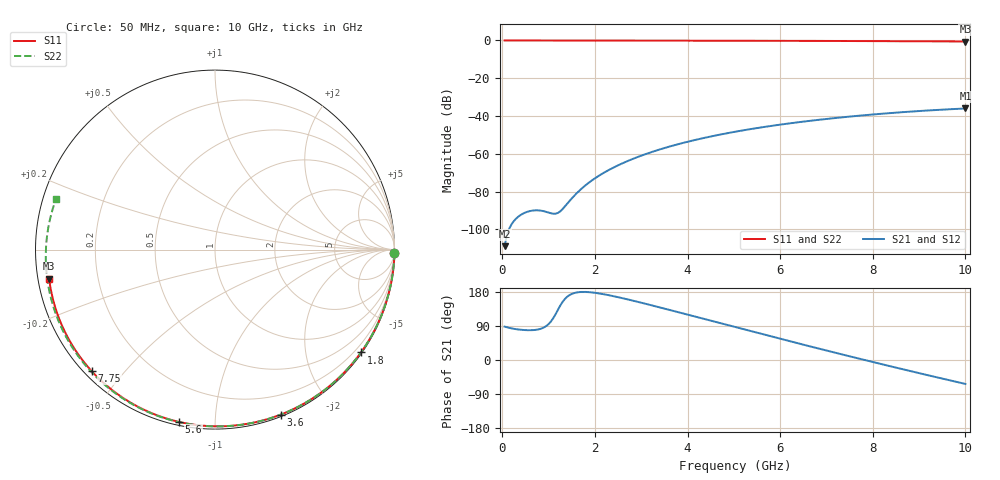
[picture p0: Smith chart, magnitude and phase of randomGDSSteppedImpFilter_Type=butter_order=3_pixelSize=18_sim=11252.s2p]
! freq	dB(S11)	phase(S11)	dB(S12)	phase(S12)
!  dB(S21)	phase(S21)	dB(S22)	phase(S22)
!S-par simulation data
#  GHz  S  DB  R 50
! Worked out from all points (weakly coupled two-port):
!   200 points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, 50 MHz to 10 GHz, reference 50 ohm
!   highest |S21| = -36.01 dB at 10 GHz (marker M1); lowest = -108.9 dB at 50 MHz (marker M2)
!   lowest |S11| = -0.6 dB at 10 GHz (marker M3), VSWR 31.34, Z = 1.61 - j4.36 ohm
!   |S11| at or under -10 dB: nowhere
!   |S22| runs from -0.6 to 0.0 dB; largest |S21 - S12| = 0
!   S11 on the Smith chart (normalised r, x): 50 MHz: open; 1.8 GHz: 0.03, -3.16; 3.6 GHz: 0.02, -1.48; 5.6 GHz: 0.02, -0.81; 7.75 GHz: 0.02, -0.41; 10 GHz: 0.03, -0.09
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0.05  -0.00 -1.0  -108.90 88.1  -108.90 88.1  -0.00 -1.1
0.8  -0.02 -15.8  -90.00 81.4  -90.00 81.4  -0.02 -17.4
1.6  -0.04 -31.3  -81.03 178.1  -81.03 178.1  -0.04 -34.4
1.65  -0.04 -32.3  -79.84 179.0  -79.84 179.0  -0.04 -35.4
1.75  -0.04 -34.2  -77.63 179.7  -77.63 179.7  -0.05 -37.5
1.8  -0.04 -35.2  -76.61 179.6  -76.61 179.6  -0.05 -38.6
2.1  -0.05 -40.9  -71.41 175.5  -71.41 175.5  -0.06 -44.8
2.45  -0.06 -47.4  -66.69 167.1  -66.69 167.1  -0.07 -52.0
2.9  -0.07 -55.7  -61.91 154.3  -61.91 154.3  -0.08 -61.1
3.4  -0.09 -64.7  -57.70 138.8  -57.70 138.8  -0.09 -71.1
3.6  -0.09 -68.2  -56.24 132.5  -56.24 132.5  -0.10 -75.0
4.3  -0.11 -80.4  -51.91 110.1  -51.91 110.1  -0.13 -88.4
5.05  -0.14 -92.9  -48.23 86.1  -48.23 86.1  -0.16 -102.5
5.6  -0.17 -101.9  -45.99 68.6  -45.99 68.6  -0.19 -112.6
6.15  -0.20 -110.6  -44.06 51.3  -44.06 51.3  -0.22 -122.7
6.7  -0.23 -119.2  -42.38 34.2  -42.38 34.2  -0.26 -132.7
7.25  -0.27 -127.7  -40.91 17.4  -40.91 17.4  -0.31 -142.7
7.75  -0.31 -135.3  -39.73 2.2  -39.73 2.2  -0.35 -152.0
8.35  -0.37 -144.5  -38.49 -15.7  -38.49 -15.7  -0.42 -163.4
9.2  -0.46 -157.5  -37.05 -40.5  -37.05 -40.5  -0.52 179.6
9.6  -0.50 -163.7  -36.49 -51.9  -36.49 -51.9  -0.58 171.2
10  -0.55 -170.0  -36.01 -63.1  -36.01 -63.1  -0.63 162.4
